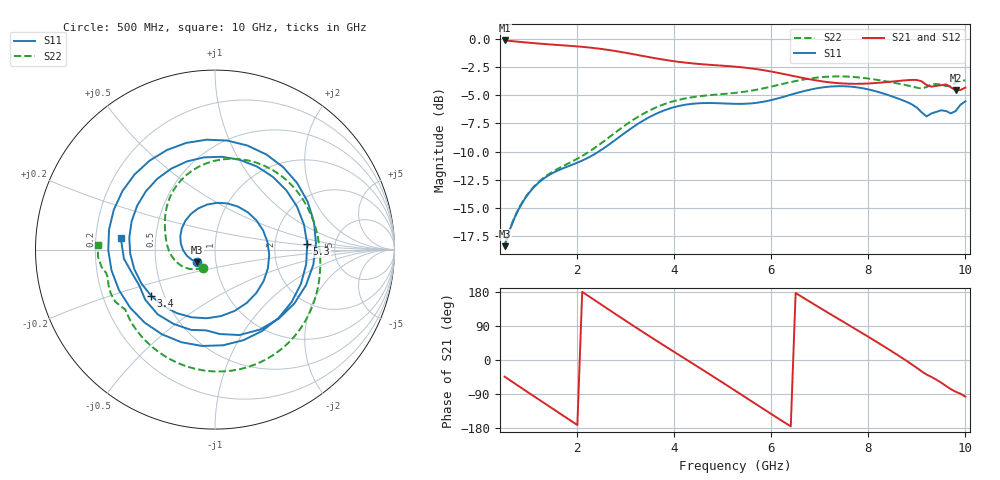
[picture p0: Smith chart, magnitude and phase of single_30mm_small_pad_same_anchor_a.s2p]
! Touchstone file exported from HFSS 3D Layout Design 2026.1.0
!  File:  D:/Work/ADS/HFSS_VERDICT/hfss_sma_connector_cpw.aedt
!  Generated:  01:53:54 PM Aug  5, 2026
!  Design:  SINGLE_END_SMA_CPW_30MM
!  Project:  hfss_sma_connector_cpw
! Variables:
!  $sma_Base_D = 6.25mm
!  $sma_Base_L = 8mm
!  $sma_Feet_L = 4mm
!  $sma_Feet_W = 1mm
!  $sma_Front_L = 1.5mm
!  $sma_Front_W = 6.5mm
!  $sma_Hole_D = 1.25mm
!  $sma_PTFE_D = 4.2mm
!  $sma_Pin_D = 0.95mm
!  $sma_Pin_P = 1.7mm
# GHz S MA R 50.000000
! Terminal data exported
! Port[1] = Port1
! Port[2] = S1_1_Pin_T1
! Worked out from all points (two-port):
!   96 points, 500 MHz to 10 GHz, reference 50 ohm
!   highest |S21| = -0.16 dB at 500 MHz (marker M1); lowest = -4.6 dB at 9.8 GHz (marker M2)
!   |S21| within 3 dB of the highest: start of sweep to 6.289 GHz
!   lowest |S11| = -18.4 dB at 500 MHz (marker M3), VSWR 1.27, Z = 40.6 - j5.64 ohm
!   |S11| at or under -10 dB: start of sweep to 2.438 GHz
!   |S22| runs from -18.3 to -3.3 dB; largest |S21 - S12| = 2.6e-12
!   S11 on the Smith chart (normalised r, x): 500 MHz: 0.81, -0.11; 3.4 GHz: 0.42, -0.27; 5.3 GHz: 3.10, +0.25; 10 GHz: 0.31, +0.05
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0.5  0.1206 -145.5  0.9819 -43.9  0.9819 -43.9  0.1218 -124.3
0.9  0.1932 170.2  0.9639 -78.3  0.9639 -78.3  0.1945 -149.0
1.2  0.2304 135.9  0.9514 -103.8  0.9514 -103.8  0.2321 -165.4
1.7  0.2665 74.8  0.9342 -146.2  0.9342 -146.2  0.2725 171.9
2.1  0.2887 21.7  0.9199 179.8  0.9199 179.8  0.3026 157.1
2.8  0.3586 -72.2  0.8805 120.1  0.8805 120.1  0.3866 130.2
3.4  0.4392 -144.1  0.8343 69.9  0.8343 69.9  0.4704 101.2
3.7  0.4729 -177.2  0.8126 45.4  0.8126 45.4  0.5043 85.5
4.5  0.5176 96.7  0.7728 -19.3  0.7728 -19.3  0.5556 44.0
4.9  0.5179 51.5  0.7615 -51.8  0.7615 -51.8  0.5664 24.9
5.3  0.5145 3.4  0.7499 -84.7  0.7499 -84.7  0.5769 7.2
5.7  0.5202 -47.1  0.7328 -117.9  0.7328 -117.9  0.5946 -9.5
6.1  0.5417 -97.6  0.7084 -150.9  0.7084 -150.9  0.6207 -26.0
6.5  0.5729 -145.6  0.6802 176.8  0.6802 176.8  0.649 -43.1
6.9  0.6008 169.4  0.6547 145.4  0.6547 145.4  0.6709 -60.5
7.3  0.6152 126.3  0.6375 114.7  0.6375 114.7  0.6806 -78.0
7.7  0.6113 83.6  0.6312 84.2  0.6312 84.2  0.6766 -95.0
8.1  0.5891 39.1  0.6352 53.3  0.6352 53.3  0.6613 -111.3
8.5  0.5541 -8.8  0.6462 21.5  0.6462 21.5  0.6396 -126.5
9  0.4951 -74.0  0.6562 -20.9  0.6562 -20.9  0.6065 -143.8
9.8  0.4784 -163.2  0.5904 -83.7  0.5904 -83.7  0.639 -171.2
10  0.5284 173.1  0.6073 -96.5  0.6073 -96.5  0.6532 178.0
